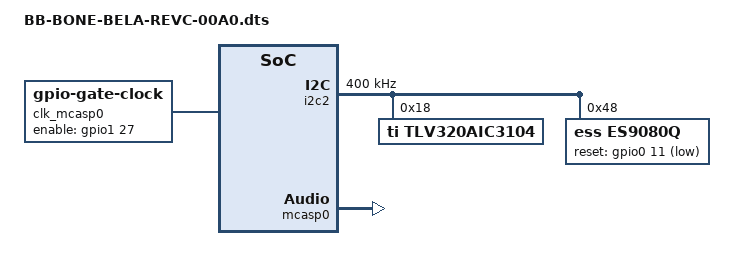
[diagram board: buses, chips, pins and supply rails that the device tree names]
// SPDX-License-Identifier: GPL-2.0-only
/*
 * Bela Audio Cape RevC Device Tree Overlay
 * BeagleBone Black / BeagleBone AI
 *
 * Audio topology:
 *   TLV320AIC3104 — stereo codec, BCLK/FSYNC master, TDM slots 0-1
 *   ES9080Q       — 8-channel DAC, BCLK/FSYNC slave,  TDM slots 2-9
 *
 * McASP0 serializer assignment:
 *   AXR0 (RX) — receives audio from TLV320AIC3104 (capture)
 *   AXR2 (TX) — sends audio to TLV320AIC3104 (playback, slots 0-1)
 *   AXR3 (TX) — sends audio to ES9080Q (playback, slots 2-9)
 *
 * Clock topology:
 *   AHCLKX pin    — MCLK output to both codecs (24.576 MHz via gpio-gate-clock)
 *   ACLKX/FSX     — BCLK/FSYNC inputs from TLV320AIC3104 (McASP is slave)
 */
/dts-v1/;
/plugin/;
#include <dt-bindings/gpio/gpio.h>
#include <dt-bindings/pinctrl/am33xx.h>

&{/chosen} {
	overlays {
		BB-BONE-BELA-REVC-00A0.bb.org-overlays = __TIMESTAMP__;
	};
};

/* --------------------------------------------------------------------------
 * Clocks
 *
 * clk_mcasp0_fixed: crystal/oscillator reference — 24.576 MHz covers the
 * 48 kHz sample-rate family.  The machine driver switches to 22.5792 MHz
 * for 44.1 kHz by calling clk_set_rate() on clk_mcasp0.
 *
 * clk_mcasp0: gpio-gate-clock — gates the fixed clock via GPIO1_27.
 * The gate must be asserted (GPIO high) before any audio operation.
 * -------------------------------------------------------------------------- */
&{/} {
	clk_mcasp0_fixed: clk_mcasp0_fixed {
		#clock-cells = <0>;
		compatible = "fixed-clock";
		clock-frequency = <24576000>;
	};

	clk_mcasp0: clk_mcasp0 {
		#clock-cells = <0>;
		compatible = "gpio-gate-clock";
		clocks = <&clk_mcasp0_fixed>;
		enable-gpios = <&gpio1 27 GPIO_ACTIVE_HIGH>;
	};
};

/* --------------------------------------------------------------------------
 * Pin multiplexing
 *
 * ACLKX (0x990) — BCLK.    INPUT because AIC3104 is clock master.
 * FSX   (0x994) — FSYNC.   INPUT because AIC3104 is clock master.
 * AXR0  (0x998) — Serial data RX (capture from AIC3104).
 * AXR2  (0x99c) — Serial data TX to AIC3104 (MUX_MODE2 = mcasp0_axr2).
 * AHCLKX(0x9ac) — MCLK output to both codecs.
 * GPIO1_27(0x86c)— Gate for clk_mcasp0.
 * AXR3  (0x9a4) — Serial data TX to ES9080Q (MUX_MODE3 = mcasp0_axr3).
 *
 * ACLKX and FSX use PIN_INPUT because the McASP is a clock slave — it
 * receives BCLK and FSYNC from the AIC3104, not the other way around.
 * -------------------------------------------------------------------------- */
&am33xx_pinmux {
	bone_audio_cape_audio_pins: pinmux_bone_audio_cape_audio_pins {
		pinctrl-single,pins = <
			/* BCLK — input, McASP is clock slave */
			AM33XX_IOPAD(0x990, PIN_INPUT_PULLDOWN | MUX_MODE0)
			/* FSYNC — input, McASP is clock slave */
			AM33XX_IOPAD(0x994, PIN_INPUT_PULLDOWN | MUX_MODE0)
			/* AXR0 — RX, capture from AIC3104 */
			AM33XX_IOPAD(0x998, PIN_INPUT_PULLDOWN | MUX_MODE0)
			/* AXR2 — TX, playback to AIC3104 (mcasp0_axr2) */
			AM33XX_IOPAD(0x99c, PIN_OUTPUT_PULLDOWN | MUX_MODE2)
			/* AHCLKX — MCLK output to both codecs */
			AM33XX_IOPAD(0x9ac, PIN_OUTPUT_PULLDOWN | MUX_MODE0)
			/* GPIO1_27 — MCLK gate enable */
			AM33XX_IOPAD(0x86c, PIN_OUTPUT_PULLDOWN | MUX_MODE7)
			/* AXR3 — TX, playback to ES9080Q (mcasp0_axr3) */
			AM33XX_IOPAD(0x9a4, PIN_OUTPUT_PULLDOWN | MUX_MODE3)
		>;
	};
};

/* --------------------------------------------------------------------------
 * Disable default BeagleBone pin multiplexing for the pins we use above
 * -------------------------------------------------------------------------- */
&ocp {
	P9_25_pinmux { status = "disabled"; };	/* mcasp0_ahclkx  — MCLK out    */
	P9_28_pinmux { status = "disabled"; };	/* mcasp0_axr2    — TX AIC3104  */
	P9_29_pinmux { status = "disabled"; };	/* mcasp0_fsx     — FSYNC in    */
	P9_30_pinmux { status = "disabled"; };	/* mcasp0_axr0    — RX          */
	P9_31_pinmux { status = "disabled"; };	/* mcasp0_aclkx   — BCLK in     */
	P8_33_pinmux { status = "disabled"; };	/* mcasp0_axr3    — TX ES9080Q  */
};

/* --------------------------------------------------------------------------
 * I2C codec nodes
 * -------------------------------------------------------------------------- */
&i2c2 {
	#address-cells = <1>;
	#size-cells = <0>;
	status = "okay";
	clock-frequency = <400000>;

	tlv320aic3104: codec@18 {
		compatible = "ti,tlv320aic3104";
		reg = <0x18>;
		#sound-dai-cells = <0>;
		/*
		 * AIC3104 uses MCLK as its PLL reference.  The clock is gated
		 * by clk_mcasp0 and must be running before the codec is used.
		 */
		clocks = <&clk_mcasp0>;
		clock-names = "mclk";
	};

	es9080q: dac@48 {
		compatible = "ess,es9080q";
		reg = <0x48>;
		#sound-dai-cells = <0>;
		/*
		 * write-only-addr: ES9080Q secondary I2C address used for
		 * write-only PLL/GPIO registers.  The driver creates a dummy
		 * I2C client at this address on the same adapter.
		 */
		write-only-addr = <0x4c>;
		/*
		 * Reset pin is active-low (RSTN).  Driver asserts low then
		 * releases high before starting I2C initialisation.
		 */
		reset-gpios = <&gpio0 11 GPIO_ACTIVE_LOW>;
	};
};

/* --------------------------------------------------------------------------
 * McASP0 — TDM serial bus, clock slave
 *
 * op-mode = 0       MCASP_IIS_MODE (TDM)
 * tdm-slots = 16    16 slots per frame × 32 bits = 512-bit frame
 *
 * serial-dir layout (indices 0..15 map to AXR0..AXR15):
 *   AXR0 = 2 (RX) — capture from AIC3104
 *   AXR1 = 0 (INACTIVE)
 *   AXR2 = 1 (TX) — playback to AIC3104 (slots 0-1)
 *   AXR3 = 1 (TX) — playback to ES9080Q (slots 2-9)
 *   AXR4-AXR15 = 0 (INACTIVE)
 *
 * McASP is a clock slave: ACLKX and FSX are inputs driven by AIC3104.
 * The rx-clk-active and tx-clk-active properties are therefore not set
 * to "master" — the default (slave) is correct.
 * -------------------------------------------------------------------------- */
&mcasp0 {
	#sound-dai-cells = <0>;
	pinctrl-names = "default";
	pinctrl-0 = <&bone_audio_cape_audio_pins>;
	status = "okay";

	op-mode = <0>;		/* MCASP_IIS_MODE */
	tdm-slots = <16>;
	num-serializer = <16>;
	serial-dir = <		/* 0: INACTIVE, 1: TX, 2: RX */
		2 0 1 1		/* AXR0=RX  AXR1=off  AXR2=TX(AIC)  AXR3=TX(ES9080Q) */
		0 0 0 0
		0 0 0 0
		0 0 0 0
	>;
	tx-num-evt = <32>;
	rx-num-evt = <32>;
};

/* --------------------------------------------------------------------------
 * Sound card
 *
 * audio-routing connects machine-level board widgets (defined in the machine
 * driver's bela_dapm_widgets[]) to codec pin widgets.
 *
 * ES9080Q routes use "OUT1"-"OUT8" — the SND_SOC_DAPM_OUTPUT names from
 * es9080q.c.  Routing to the stream name "Playback" is incorrect.
 *
 * status = "okay" is intentionally omitted — it is a base DT property not
 * defined by the bela,audio-cape binding and need not appear here.
 * -------------------------------------------------------------------------- */
&{/} {
	sound_bela: sound {
		compatible = "bela,audio-cape";
		model = "Bela Audio Cape RevC";

		cpu-dai     = <&mcasp0>;
		aic3104-codec = <&tlv320aic3104>;
		es9080q-codec = <&es9080q>;

		clocks      = <&clk_mcasp0>;
		clock-names = "mclk";

		audio-routing =
			/* AIC3104 outputs → board connectors */
			"Headphone Jack",   "HPLOUT",
			"Headphone Jack",   "HPROUT",
			"AIC3104 Line Out", "LLOUT",
			"AIC3104 Line Out", "RLOUT",
			/* Board connectors → AIC3104 inputs */
			"LINE1L",           "Line In",
			"LINE1R",           "Line In",
			/* ES9080Q codec pins → board connectors */
			"DAC Out 1",        "OUT1",
			"DAC Out 2",        "OUT2",
			"DAC Out 3",        "OUT3",
			"DAC Out 4",        "OUT4",
			"DAC Out 5",        "OUT5",
			"DAC Out 6",        "OUT6",
			"DAC Out 7",        "OUT7",
			"DAC Out 8",        "OUT8";
	};
};
